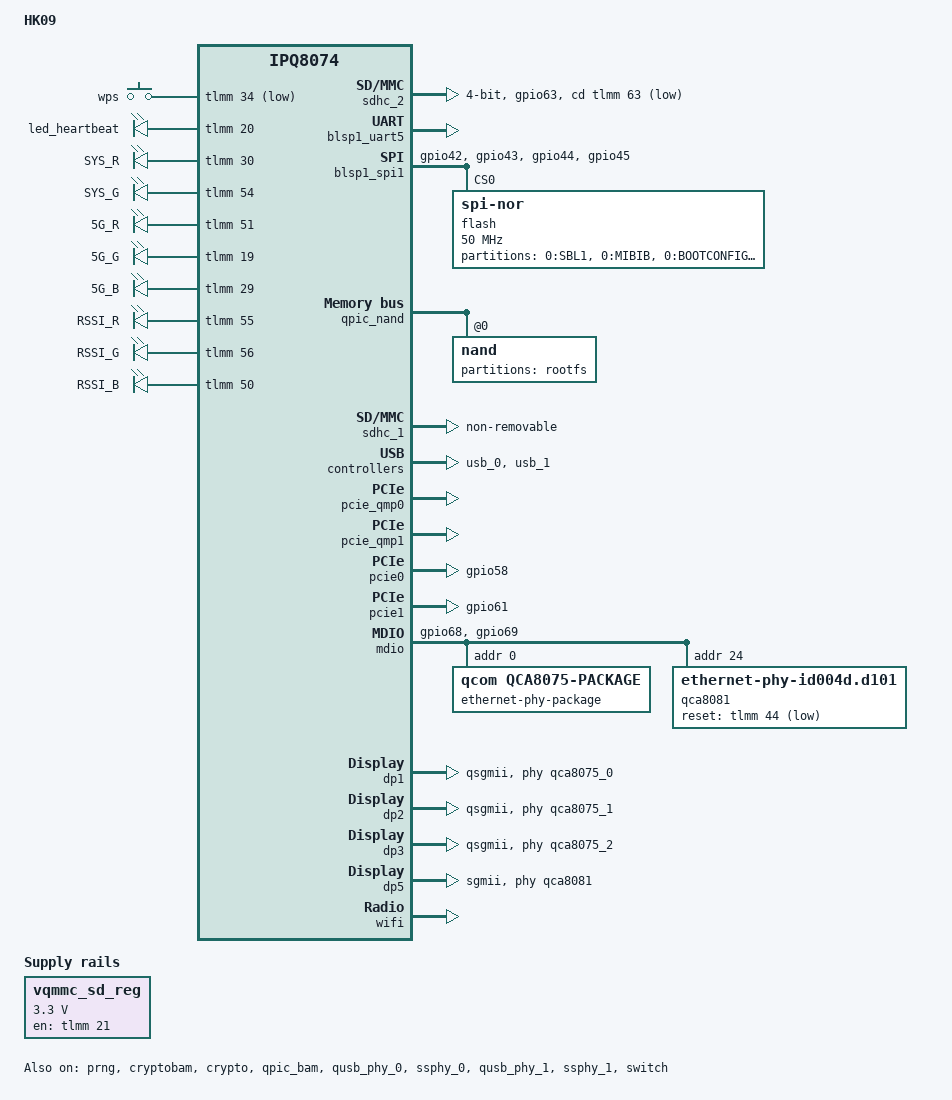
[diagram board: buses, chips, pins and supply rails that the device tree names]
// SPDX-License-Identifier: GPL-2.0-or-later OR MIT
/*
 * HK09 开发板（IPQ8072A）
 *
 * 基线：ccmx200 的 ipq8072-salvage-1.dts（同一 HK09/HK01 参考设计家族，
 *       同为 IPQ8072 + QCN5054/QCN5024(AHB) + QCA8075(QSGMII) + QCA8081(SGMII+)）
 *
 * 本文件中的每一个硬件参数都已**实机校准**，不是猜的。校准方法：
 *   1. 板子上跑的是 ccmx200 的 LibWrt（board_name = cuicanmx,salvage-1），
 *      即同一硬件的已知可用固件，其 DTB 是权威基准。
 *   2. 把 /sys/firmware/fdt 经 gzip + 串口 hexdump 无损搬回主机
 *      （tools/serial/fetch-fdt.ps1 + .check/decode-fdt.sh，md5 校验通过）。
 *   3. dtc 反编译成 2768 行 DTS，再与本文件逐字段对比。
 *   4. 同时与源码树里官方 ipq8072-salvage-1.dts 的**源码**对照。
 *
 * 校验结果（见 .check/）：
 *   verify-real-hw.sh   36/36 PASS   实机参数逐条断言
 *   diff-live.sh        28/28 SAME   与板上运行 DTS 逐字段一致，0 DIFF
 *   verify-spi.sh                    SPI NOR 19 个分区与板上一致
 *   verify-pcie.sh      12/12 PASS   PCIe perst 接线核对
 *   verify-sd.sh         8/8 PASS    SD 卡（cd/vqmmc/pinmux）核对
 *
 * 注意：这里踩过的坑都在对应段落注释里写明了，改参数前建议先读一遍——
 * 尤其是 gpios 第一格是 phandle、pcie@10000000 是 pcie1 这两处。
 *
 * 已知坏点（原厂固件下就存在，非本移植引入）：
 *   - Wi-Fi 报 "failed to load CAL data file:cal-ahb-c000000.wifi.bin"，
 *     BDF 变体名匹配无误，问题在后续 CAL 加载环节。
 *   - pcie@10000000 (&pcie1) 报 "Read DBI address failed"，链路起不来。
 */

/dts-v1/;

#include "ipq8074.dtsi"
#include "ipq8074-hk-cpu.dtsi"
#include "ipq8074-ess.dtsi"
#include "ipq8074-nss.dtsi"
#include <dt-bindings/gpio/gpio.h>
#include <dt-bindings/input/input.h>
#include <dt-bindings/leds/common.h>

/ {
	model = "HK09";
	compatible = "hk09,hk09", "qcom,ipq8074";

	/* SD 卡 3.3V 供电，由 GPIO21 使能（实测自板上 DTS，与官方一致） */
	vqmmc_sd_reg: regulator-vqmmc-sd {
		compatible = "regulator-fixed";
		regulator-name = "vqmmc_sd";
		regulator-min-microvolt = <3300000>;
		regulator-max-microvolt = <3300000>;
		regulator-always-on;
		gpios = <&tlmm 21 GPIO_ACTIVE_HIGH>;
		enable-active-high;
	};

	aliases {
		serial0 = &blsp1_uart5;
		/* 与板上运行中的 DTS 完全一致（已核对 /sys/firmware/fdt）：
		 * ethernet0=dp5(wan 2.5G), ethernet1=dp3(lan1),
		 * ethernet2=dp2(lan2), ethernet3=dp1(lan3)
		 *
		 * 注意这里只是**内核编号顺序**，不等于面板丝印。
		 * 面板上的 lan1/lan2/lan3/wan 由各 dp 节点的 label 决定，
		 * 也已与板上一致。
		 */
		ethernet0 = &dp5;	/* 2.5G WAN (QCA8081) */
		ethernet1 = &dp3;
		ethernet2 = &dp2;
		ethernet3 = &dp1;
	};

	chosen {
		stdout-path = "serial0:115200n8";
		/* 与官方 ipq8072-salvage-1.dts 完全一致，只写增量。
		 *
		 * 板上完整 cmdline 是：
		 *   console=ttyMSM0,115200n8 ubi.mtd=rootfs root=mtd:ubi_rootfs
		 *   rootfstype=squashfs rootwait root=/dev/ubiblock0_1
		 *
		 * 其中前半段来自 U-Boot 的 bootargs 环境变量，不是 DTS；
		 * DTS 只负责追加 root=/dev/ubiblock0_1。
		 *
		 * （我一度把整串都抄进 bootargs-append，那会让 ubi.mtd=rootfs
		 *  等参数重复出现两次 —— 是错的。）
		 */
		bootargs-append = " root=/dev/ubiblock0_1";
	};

	/*
	 * 按键 —— 参数从实机运行中的设备树读出（2026-11-05）。
	 *
	 * gpios 的三个 cell 是 <&tlmm GPIO flags>，**第一个是 phandle 不是 GPIO 号**：
	 *   /proc/.../gpio_keys/wps/gpios = 00 00 00 0c | 00 00 00 22 | 00 00 00 01
	 *                                    phandle     GPIO 0x22=34  低有效
	 * 交叉印证：&tlmm 里 button_pins 指向的正是 "gpio34"。
	 *
	 * （我最初把 phandle 0x0c 当成 GPIO 12，是误读。）
	 */
	gpio_keys {
		compatible = "gpio-keys";
		pinctrl-0 = <&button_pins>;
		pinctrl-names = "default";

		wps {
			label = "wps";
			gpios = <&tlmm 34 GPIO_ACTIVE_LOW>;
			linux,code = <KEY_WPS_BUTTON>;
			debounce-interval = <60>;
		};
	};

	/*
	 * LED —— 同样读自实机。gpios 三个 cell 是 <&tlmm N flags>，
	 * 实测 flags 全为 0（GPIO_ACTIVE_HIGH）。
	 *
	 *   led_heartbeat  GPIO 20   linux,default-trigger = heartbeat
	 *   SYS_R          GPIO 30
	 *   SYS_G          GPIO 54
	 *   5G_R           GPIO 51
	 *   5G_G           GPIO 19
	 *   5G_B           GPIO 29
	 *   RSSI_R         GPIO 55
	 *   RSSI_G         GPIO 56
	 *   RSSI_B         GPIO 50
	 */
	/*
	 * LED —— 与板上运行中的 DTS 逐字段对齐（2026-11-05 导出 /sys/firmware/fdt 反编译）。
	 *
	 * 关键差异（我最初写错、已按实测纠正）：
	 *   * 节点名在板上是 SYS_R / 5G_R 这类**大写**形式，不是 led_sys_r
	 *   * default-state 全是 "on"（板子起来后 LED 默认点亮），不是 "off"
	 *   * pinctrl 用 bias-pull-down（不是 pull-up）
	 *
	 * gpios 三个 cell 是 <&tlmm N flags>，flags 实测全为 0（高有效）。
	 */
	leds {
		compatible = "gpio-leds";
		pinctrl-0 = <&led_pins>;
		pinctrl-names = "default";

		led_heartbeat: led_heartbeat {
			label = "led_heartbeat";
			gpios = <&tlmm 20 GPIO_ACTIVE_HIGH>;
			linux,default-trigger = "heartbeat";
		};

		led_sys_r: SYS_R {
			label = "SYS_R";
			gpios = <&tlmm 30 GPIO_ACTIVE_HIGH>;
			default-state = "on";
		};

		led_sys_g: SYS_G {
			label = "SYS_G";
			gpios = <&tlmm 54 GPIO_ACTIVE_HIGH>;
			default-state = "on";
		};

		led_5g_r: 5G_R {
			label = "5G_R";
			gpios = <&tlmm 51 GPIO_ACTIVE_HIGH>;
			default-state = "on";
		};

		led_5g_g: 5G_G {
			label = "5G_G";
			gpios = <&tlmm 19 GPIO_ACTIVE_HIGH>;
			default-state = "on";
		};

		led_5g_b: 5G_B {
			label = "5G_B";
			gpios = <&tlmm 29 GPIO_ACTIVE_HIGH>;
			default-state = "on";
		};

		led_rssi_r: RSSI_R {
			label = "RSSI_R";
			gpios = <&tlmm 55 GPIO_ACTIVE_HIGH>;
			default-state = "on";
		};

		led_rssi_g: RSSI_G {
			label = "RSSI_G";
			gpios = <&tlmm 56 GPIO_ACTIVE_HIGH>;
			default-state = "on";
		};

		led_rssi_b: RSSI_B {
			label = "RSSI_B";
			gpios = <&tlmm 50 GPIO_ACTIVE_HIGH>;
			default-state = "on";
		};
	};
};

/*
 * SD 卡控制器：mainline ipq8074.dtsi 里没有 sdhc_2 节点，salvage-1 也是自己补的。
 *
 * 实测（读板上 /proc/device-tree/soc@0/mmc@7864900）：
 *   **这块板子有 SD 卡槽**，status = "okay"，并且：
 *     cd-gpios      = <&tlmm 63 GPIO_ACTIVE_LOW>   卡检测
 *     pinctrl-0     = <&sd_pins>                   gpio63 = sd_card
 *     vqmmc-supply  = <&vqmmc_sd_reg>              GPIO21 使能 3.3V
 *
 * （我一度因为 dmesg 里没看到卡片检测就断定"没有 SD 槽"，那是错的——
 *  没插卡当然看不到，但控制器本身是启用的。）
 */
&soc {
	sdhc_2: mmc@7864900 {
		compatible = "qcom,ipq8074-sdhci", "qcom,sdhci-msm-v4";
		reg = <0x7864900 0x500>, <0x7864000 0x800>;
		reg-names = "hc", "core";
		interrupts = <GIC_SPI 125 IRQ_TYPE_LEVEL_HIGH>,
			     <GIC_SPI 221 IRQ_TYPE_LEVEL_HIGH>;
		interrupt-names = "hc_irq", "pwr_irq";
		clocks = <&gcc GCC_SDCC2_AHB_CLK>,
			 <&gcc GCC_SDCC2_APPS_CLK>,
			 <&xo>;
		clock-names = "iface", "core", "xo";
		resets = <&gcc GCC_SDCC2_BCR>;
		max-frequency = <192000000>;
		mmc-ddr-1_8v;
		bus-width = <4>;
		status = "okay";
		pinctrl-0 = <&sd_pins>;
		pinctrl-names = "default";
		cd-gpios = <&tlmm 63 GPIO_ACTIVE_LOW>;
		vqmmc-supply = <&vqmmc_sd_reg>;
	};
};

&tlmm {
	mdio_pins: mdio_pins {
		mdc {
			pins = "gpio68";
			function = "mdc";
			drive-strength = <8>;
			bias-pull-up;
		};

		mdio {
			pins = "gpio69";
			function = "mdio";
			drive-strength = <8>;
			bias-pull-up;
		};
	};

	/* SD 卡检测脚，抄自板上 DTS：gpio63 = sd_card, bias-pull-up */
	sd_pins: sd_pins {
		mux {
			pins = "gpio63";
			function = "sd_card";
			drive-strength = <8>;
			bias-pull-up;
		};
	};

	/* PCIe PERST 引脚，照官方 salvage-1：GPIO58 -> pcie0，GPIO61 -> pcie1 */
	pcie0_perst_pins: pcie0_perst_pins {
		perst {
			pins = "gpio58";
			function = "gpio";
			drive-strength = <8>;
			bias-pull-down;
		};
	};

	pcie1_perst_pins: pcie1_perst_pins {
		perst {
			pins = "gpio61";
			function = "gpio";
			drive-strength = <8>;
			bias-pull-down;
		};
	};

	/* SPI NOR 的引脚复用，抄自板上 DTS：gpio42..45 = blsp1_spi，bias-disable */
	spi1_pins: spi1_pins {
		mux {
			pins = "gpio42", "gpio43", "gpio44", "gpio45";
			function = "blsp1_spi";
			drive-strength = <8>;
			bias-disable;
		};
	};

	/* 按键与 LED 的 GPIO 全部来自实机设备树（见顶层 gpio_keys / leds 注释） */
	button_pins: button_pins {
		wps_button {
			/*
			 * 必须是 gpio34，不是 gpio12。
			 *
			 * 实机日志抓到的冲突：
			 *   ipq8074-pinctrl 1000000.pinctrl: pin GPIO_12 already
			 *     requested by 79b0000.nand-controller; cannot claim for gpio_keys
			 *   gpio-keys gpio_keys: Error applying setting, reverse things back
			 *
			 * GPIO 12 是 NAND 控制器的（79b0000.nand-controller），
			 * 被 pinctrl 先占了，按键再申请就 -EINVAL，
			 * 整个 gpio-keys 设备初始化失败 —— 按键完全不可用。
			 *
			 * 根因是早期把 phandle 0x0c 误读成 GPIO 12（上面的注释已改正），
			 * 但这份 pinctrl 没跟着改。gpio_keys 节点里写的是 GPIO 34。
			 */
			pins = "gpio34";
			function = "gpio";
			drive-strength = <8>;
			bias-pull-up;
		};
	};

	led_pins: led_pins {
		led_heartbeat_pin {
			pins = "gpio20";
			function = "gpio";
			drive-strength = <8>;
			bias-pull-down;
		};

		led_sys_r_pin {
			pins = "gpio30";
			function = "gpio";
			drive-strength = <8>;
			bias-pull-down;
		};

		led_sys_g_pin {
			pins = "gpio54";
			function = "gpio";
			drive-strength = <8>;
			bias-pull-down;
		};

		led_5g_r_pin {
			pins = "gpio51", "gpio19", "gpio29";
			function = "gpio";
			drive-strength = <8>;
			bias-pull-down;
		};

		led_rssi_pin {
			pins = "gpio55", "gpio56", "gpio50";
			function = "gpio";
			drive-strength = <8>;
			bias-pull-down;
		};
	};
};

/* ---------- 基础外设 ---------- */

&blsp1_uart5 { status = "okay"; };	/* console，必须开 */
&prng { status = "okay"; };
&cryptobam { status = "okay"; };
&crypto { status = "okay"; };
&qpic_bam { status = "okay"; };

/*
 * ---------- SPI NOR ----------
 *
 * 实测：这块板子的 **ART 在 SPI NOR 上**，不在 NAND。
 * 分区表整份抄自板上运行中的 DTS（/sys/firmware/fdt 反编译，md5 已校验），
 * 偏移必须一模一样，否则 ART 读写错位、Wi-Fi 校准丢失。
 *
 * 总容量 0x690000 = 6.56 MiB，对应板上那颗 25Q64 类 NOR。
 * 全部 read-only：这些是 bootloader / 安全固件 / 校准数据，应用层不该写。
 *
 * 由此得出的安全结论：**整片擦除 NAND 不会毁掉 Wi-Fi 校准**。
 * 反过来说，绝对不要碰 SPI NOR。
 */
&blsp1_spi1 {
	status = "okay";
	pinctrl-0 = <&spi1_pins>;
	pinctrl-names = "default";

	flash@0 {
		reg = <0>;
		compatible = "jedec,spi-nor";
		spi-max-frequency = <50000000>;

		partitions {
			compatible = "fixed-partitions";
			#address-cells = <1>;
			#size-cells = <1>;

			partition@0 {
				label = "0:SBL1";
				reg = <0x0 0x50000>;
				read-only;
			};

			partition@50000 {
				label = "0:MIBIB";
				reg = <0x50000 0x10000>;
				read-only;
			};

			partition@60000 {
				label = "0:BOOTCONFIG";
				reg = <0x60000 0x20000>;
				read-only;
			};

			partition@80000 {
				label = "0:BOOTCONFIG1";
				reg = <0x80000 0x20000>;
				read-only;
			};

			partition@a0000 {
				label = "0:QSEE";
				reg = <0xa0000 0x180000>;
				read-only;
			};

			partition@220000 {
				label = "0:QSEE_1";
				reg = <0x220000 0x180000>;
				read-only;
			};

			partition@3a0000 {
				label = "0:DEVCFG";
				reg = <0x3a0000 0x10000>;
				read-only;
			};

			partition@3b0000 {
				label = "0:DEVCFG_1";
				reg = <0x3b0000 0x10000>;
				read-only;
			};

			partition@3c0000 {
				label = "0:APDP";
				reg = <0x3c0000 0x10000>;
				read-only;
			};

			partition@3d0000 {
				label = "0:APDP_1";
				reg = <0x3d0000 0x10000>;
				read-only;
			};

			partition@3e0000 {
				label = "0:RPM";
				reg = <0x3e0000 0x40000>;
				read-only;
			};

			partition@420000 {
				label = "0:RPM_1";
				reg = <0x420000 0x40000>;
				read-only;
			};

			partition@460000 {
				label = "0:CDT";
				reg = <0x460000 0x10000>;
				read-only;
			};

			partition@470000 {
				label = "0:CDT_1";
				reg = <0x470000 0x10000>;
				read-only;
			};

			/* U-Boot 环境变量分区，**必须可写**：
			 * fw_setenv 要往这里写，加 read-only 会让 saveenv 失败。
			 * 这是整份 NOR 分区表里唯一可写的一个。
			 */
			partition@480000 {
				label = "0:APPSBLENV";
				reg = <0x480000 0x10000>;
			};

			partition@490000 {
				label = "0:APPSBL";
				reg = <0x490000 0xa0000>;
				read-only;
			};

			partition@530000 {
				label = "0:APPSBL_1";
				reg = <0x530000 0xa0000>;
				read-only;
			};

			/* Wi-Fi 校准数据。丢了就得回原厂固件重新导出。 */
			partition@5d0000 {
				label = "0:ART";
				reg = <0x5d0000 0x40000>;
				read-only;
			};

			partition@610000 {
				label = "0:ETHPHYFW";
				reg = <0x610000 0x80000>;
				read-only;
			};
		};
	};
};

/*
 * ---------- NAND ----------
 *
 * variant A（默认，= salvage-1 的已验证方案）：整片 NAND 一个 UBI 分区。
 *   优点：不依赖原厂分区表，刷写命令简单。
 *   风险：**整片擦除会连 ART/校准一起干掉**。所以必须先备份（见 docs/02-flash.md）。
 *
 * variant B（推荐用于 NAND-only 板）：把 ART 挖出来，UBI 只占前面一段。
 *   把下面 rootfs 的 size 改成 art 的起始偏移，再补 art 分区，然后 U-Boot 里用
 *   mtdparts=nand0:0x<ART_OFF>(rootfs)ro,0x400000(art)
 *   注意 rootfs 改成 ro 时 UBI 需要写权限，所以实际写法是
 *   mtdparts=nand0:0x<ART_OFF>(rootfs),0x400000(art)
 */
&qpic_nand {
	status = "okay";

	nand@0 {
		reg = <0>;
		nand-ecc-strength = <8>;
		nand-ecc-step-size = <512>;
		nand-bus-width = <8>;

		partitions {
			compatible = "fixed-partitions";
			#address-cells = <1>;
			#size-cells = <1>;

			/* 实测：NAND 为 Micron MT29F2G08ABBGAH4，256 MiB SLC，
			 * erase 128 KiB / page 2048 / OOB 128（见 dmesg）。
			 * 整个 NAND 做成单一 UBI 卷给 rootfs。
			 */
			partition@0 {
				label = "rootfs";
				reg = <0x0 0x10000000>;
			};
		};
	};
};

/* ---------- eMMC / SD ---------- */

&sdhc_1 {
	status = "okay";
	non-removable;
	mmc-ddr-1_8v;
	mmc-hs200-1_8v;
	mmc-hs400-1_8v;
	max-frequency = <192000000>;
};

/* ---------- USB ---------- */

&qusb_phy_0 { status = "okay"; };
&ssphy_0 { status = "okay"; };
&usb_0 { status = "okay"; };

&qusb_phy_1 { status = "okay"; };
&ssphy_1 { status = "okay"; };
&usb_1 { status = "okay"; };

/* ---------- PCIe ----------
 *
 * 地址与编号的对应关系**容易搞反**，这里记清楚（已用 phandle 反查确认）：
 *
 *   pcie@20000000  compatible "qcom,pcie-ipq8074-gen3"  phys=<&pcie0_phy>
 *                  → 这是 &pcie0，perst = GPIO58
 *   pcie@10000000  compatible "qcom,pcie-ipq8074"       phys=<&pcie1_phy>
 *                  → 这是 &pcie1，perst = GPIO61
 *
 * 我一度以为「地址 0x10000000 就是 pcie0」，差点把两个 perst 接反。
 * 实测（读板上 /proc/device-tree）与官方 DTS 完全一致：
 *   pcie@10000000 perst-gpios = 0x3d = 61
 *   pcie@20000000 perst-gpios = 0x3a = 58
 *
 * 关于 dmesg 里的既有故障：
 *   qcom-pcie 10000000.pcie: Read DBI address failed
 *   qcom-pcie 10000000.pcie: Invalid eDMA IRQs found
 * 那是 &pcie1（Gen2 控制器）在原厂固件下就没起来，不是 DTS 缺属性。
 */

&pcie_qmp0 { status = "okay"; };
&pcie_qmp1 { status = "okay"; };

&pcie0 {
	status = "okay";
	pinctrl-0 = <&pcie0_perst_pins>;
	pinctrl-names = "default";
	perst-gpios = <&tlmm 58 GPIO_ACTIVE_LOW>;
};

&pcie1 {
	status = "okay";
	pinctrl-0 = <&pcie1_perst_pins>;
	pinctrl-names = "default";
	perst-gpios = <&tlmm 61 GPIO_ACTIVE_LOW>;
};

/* ---------- 有线网络 ---------- */

&mdio {
	status = "okay";
	pinctrl-0 = <&mdio_pins>;
	pinctrl-names = "default";

	/* QCA8075 封装，QSGMII 模式。
	 * 实测（2026-11-05，读运行中的设备树）包内只有 3 个 PHY：addr 0/1/2。
	 * 没有 addr 3 —— 这块板子是 3 个千兆口 + 1 个 2.5G 口。
	 */
	ethernet-phy-package@0 {
		#address-cells = <1>;
		#size-cells = <0>;
		compatible = "qcom,qca8075-package";
		reg = <0>;
		qcom,package-mode = "qsgmii";

		qca8075_0: ethernet-phy@0 {
			compatible = "ethernet-phy-ieee802.3-c22";
			reg = <0>;
		};

		qca8075_1: ethernet-phy@1 {
			compatible = "ethernet-phy-ieee802.3-c22";
			reg = <1>;
		};

		qca8075_2: ethernet-phy@2 {
			compatible = "ethernet-phy-ieee802.3-c22";
			reg = <2>;
		};
	};

	/* QCA8081 2.5G，MDIO addr 24（0x18）
	 * 实测 reset-gpios = <&tlmm 44 GPIO_ACTIVE_LOW>，
	 *      reset-deassert-us = 10000
	 */
	qca8081: ethernet-phy@24 {
		compatible = "ethernet-phy-id004d.d101";
		reg = <24>;
		reset-deassert-us = <10000>;
		reset-gpios = <&tlmm 44 GPIO_ACTIVE_LOW>;
	};
};

&switch {
	status = "okay";

	/* 位图与 mac mode 全部实测自运行中的设备树：
	 *   switch_lan_bmp   = 0x0e  = PORT1|PORT2|PORT3
	 *   switch_wan_bmp   = 0x20  = PORT5
	 *   switch_mac_mode  = 0x0b  = QSGMII
	 *   switch_mac_mode1 = 0x0c  = SGMII_PLUS
	 *   switch_mac_mode2 = 0xff  = DISABLED
	 */
	switch_lan_bmp = <(ESS_PORT1 | ESS_PORT2 | ESS_PORT3)>;
	switch_wan_bmp = <ESS_PORT5>;
	switch_mac_mode = <MAC_MODE_QSGMII>;
	switch_mac_mode1 = <MAC_MODE_SGMII_PLUS>;
	switch_mac_mode2 = <MAC_MODE_DISABLED>;

	qcom,port_phyinfo {
		port@1 { port_id = <1>; phy_address = <0>; };
		port@2 { port_id = <2>; phy_address = <1>; };
		port@3 { port_id = <3>; phy_address = <2>; };
		port@5 { port_id = <5>; phy_address = <24>; port_mac_sel = "QGMAC_PORT"; };
	};
};

&edma { status = "okay"; };

&dp1 {
	status = "okay";
	phy-mode = "qsgmii";
	phy-handle = <&qca8075_0>;
	label = "lan3";
};

&dp2 {
	status = "okay";
	phy-mode = "qsgmii";
	phy-handle = <&qca8075_1>;
	label = "lan2";
};

&dp3 {
	status = "okay";
	phy-mode = "qsgmii";
	phy-handle = <&qca8075_2>;
	label = "lan1";
};

&dp5 {
	status = "okay";
	phy-mode = "sgmii";
	phy-handle = <&qca8081>;
	label = "wan";
};

/*
 * ---------- Wi-Fi ----------
 *
 * ath11k 的校准变体名必须与 board-2.bin 里存在的 variant **精确匹配**，
 * 否则 WiFi 起不来（dmesg: "failed to fetch board data"）。
 *
 * 三条路，按省事程度排：
 *   1) 先用 IPQ8074 通用参考板 BDF：变体名 "bus=ahb,bmi-chip-id=0,bmi-board-id=31"
 *      —— DTS 里删掉本属性即可，ath11k 会自己按 bus/chip/board id 选。
 *   2) 复用 salvage-1 的 BDF：变体名 "Salvage-1"，image 里带
 *      ipq-wifi-cuicanmx_salvage-1。同一套 QCN5054/QCN5024 的板子成功率不低。
 *   3) 从你这块板子的原厂固件里提取/自建 BDF（ath11k-bdencoder），变体名随意定。
 */
&wifi {
	status = "okay";
	qcom,ath11k-calibration-variant = "Salvage-1";
};
